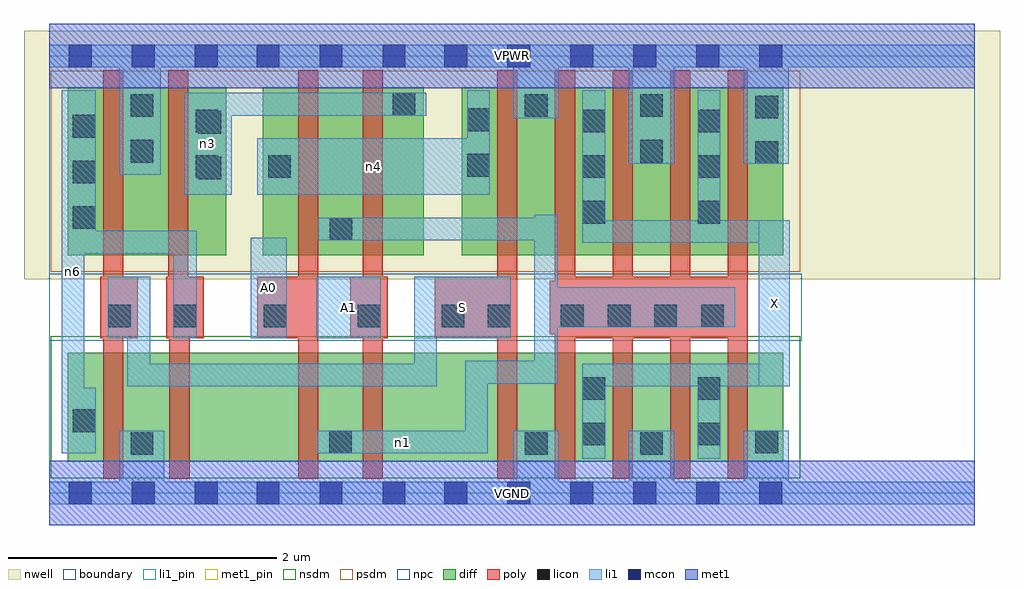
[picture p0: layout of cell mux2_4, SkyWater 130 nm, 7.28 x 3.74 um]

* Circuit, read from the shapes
.subckt mux2_4 A0 A1 S VGND VPWR X n1 n3 n4 n6
XM1 VGND S n6 VSUBS sky130_fd_pr__nfet_01v8 w=0.81 l=0.15
XM2 n2 n6 VGND VSUBS sky130_fd_pr__nfet_01v8 w=0.81 l=0.15
XM3 n1 A0 n2 VSUBS sky130_fd_pr__nfet_01v8 w=0.81 l=0.15
XM4 n5 A1 n1 VSUBS sky130_fd_pr__nfet_01v8 w=0.81 l=0.15
XM5 VGND S n5 VSUBS sky130_fd_pr__nfet_01v8 w=0.81 l=0.15
XM6 X n1 VGND VSUBS sky130_fd_pr__nfet_01v8 w=0.81 l=0.15 m=4
XM7 VPWR S n6 n7 sky130_fd_pr__pfet_01v8 w=1.25 l=0.15
XM8 n3 n6 VPWR n7 sky130_fd_pr__pfet_01v8 w=1.25 l=0.15
XM9 n1 A0 n4 n7 sky130_fd_pr__pfet_01v8 w=1.25 l=0.15
XM10 n3 A1 n1 n7 sky130_fd_pr__pfet_01v8 w=1.25 l=0.15
XM11 VPWR S n4 n7 sky130_fd_pr__pfet_01v8 w=1.25 l=0.15
XM12 X n1 VPWR n7 sky130_fd_pr__pfet_01v8 w=1.25 l=0.15 m=4
.ends

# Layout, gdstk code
import gdstk
lib = gdstk.Library(unit=1e-6, precision=1e-09)
def R(c, l, rs):  # rectangles x0, y0, x1, y1
    for r in rs: c.add(gdstk.rectangle(r[:2], r[2:], *l))
def A(c, l, x, y, w, h, nx, ny, dx, dy):  # array of equal rectangles
    R(c, l, [(x+i*dx, y+j*dy, x+i*dx+w, y+j*dy+h) for i in range(nx) for j in range(ny)])
nwell = (64, 20)
diff = (65, 20)
poly = (66, 20)
licon = (66, 44)
li1_pin = (67, 16)
li1 = (67, 20)
mcon = (67, 44)
met1_pin = (68, 16)
met1 = (68, 20)
nsdm = (93, 44)
psdm = (94, 20)
npc = (95, 20)
boundary = (235, 4)

mux2_4 = lib.new_cell('mux2_4')
R(mux2_4, nwell, [(-0.19,1.595,7.09,3.45), (0,1.595,6.9,3.45)])
R(mux2_4, diff, [(0.135,0.235,5.475,1.045), (0.135,1.775,1.32,3.025), (1.59,1.775,2.79,3.025), (3.075,1.775,5.475,3.025)])
A(mux2_4, poly, 3.34, 0.105, 0.15, 3.05, 5, 1, 0.43, 0)
R(mux2_4, poly, [(0.4,0.105,0.55,3.155), (0.895,0.105,1.045,1.615), (1.855,0.105,2.005,3.155), (2.335,0.105,2.485,3.155), (0.38,1.155,0.66,1.615), (0.87,1.155,1.15,1.615), (0.885,1.155,1.035,3.155), (1.55,1.155,2.005,1.615), (2.245,1.155,2.525,1.615), (2.875,1.155,3.49,1.615), (3.77,1.155,5.21,1.615), (3.73,1.185,5.21,1.585)])
A(mux2_4, licon, 0.175, 1.97, 0.17, 0.17, 1, 3, 0, 0.34)
A(mux2_4, licon, 3.975, 2.01, 0.17, 0.17, 1, 3, 0, 0.34)
A(mux2_4, licon, 4.835, 2.01, 0.17, 0.17, 1, 3, 0, 0.34)
R(mux2_4, licon, [(0.605,0.285,0.775,0.455), (3.545,0.285,3.715,0.455), (4.405,0.285,4.575,0.455), (2.085,0.295,2.255,0.465), (5.265,0.295,5.435,0.465), (3.975,0.355,4.145,0.525), (4.835,0.355,5.005,0.525), (0.175,0.455,0.345,0.625), (3.975,0.695,4.145,0.865), (4.835,0.695,5.005,0.865), (0.435,1.235,0.605,1.405), (0.925,1.235,1.095,1.405), (1.6,1.235,1.77,1.405), (2.3,1.235,2.47,1.405), (2.925,1.235,3.095,1.405), (3.27,1.235,3.44,1.405), (3.815,1.235,3.985,1.405), (4.165,1.235,4.335,1.405), (4.51,1.235,4.68,1.405), (4.86,1.235,5.03,1.405), (2.09,1.885,2.26,2.055), (1.11,2.34,1.28,2.51), (1.09,2.35,1.26,2.52), (1.63,2.35,1.8,2.52), (3.115,2.36,3.285,2.53), (5.265,2.455,5.435,2.625), (0.605,2.465,0.775,2.635), (4.405,2.465,4.575,2.635), (1.11,2.68,1.28,2.85), (1.09,2.69,1.26,2.86), (3.115,2.7,3.285,2.87), (5.265,2.795,5.435,2.965), (0.605,2.805,0.775,2.975), (3.545,2.805,3.715,2.975), (4.405,2.805,4.575,2.975), (2.56,2.815,2.73,2.985)])
R(mux2_4, li1_pin, [(5.29,0.795,5.52,2.035), (1.5,1.155,1.77,1.905), (1.99,1.155,2.47,1.615), (2.72,1.155,3.44,1.615)])
R(mux2_4, li1, [(0,-0.085,6.9,0.085), (0.52,-0.085,0.855,0.465), (3.46,-0.085,3.8,0.465), (4.32,-0.085,4.66,0.465), (5.18,-0.085,5.515,0.465), (3.975,0.255,4.145,0.965), (4.835,0.255,5.005,0.965), (0.09,0.295,0.26,3.005), (0.09,0.295,0.345,0.785), (2,0.295,3.27,0.465), (3.1,0.295,3.27,0.985), (0.58,0.795,2.89,0.965), (0.58,0.795,0.75,1.615), (2.72,0.795,2.89,1.615), (3.975,0.795,5.52,0.965), (5.29,0.795,5.52,2.035), (3.1,0.815,3.79,0.985), (3.615,0.815,3.79,2.075), (0.435,1.155,0.75,1.615), (0.925,1.155,1.1,1.955), (1.5,1.155,1.77,1.905), (1.99,1.155,2.47,1.615), (2.72,1.155,3.44,1.615), (3.615,1.235,5.115,1.535), (0.09,1.785,1.1,1.955), (0.09,1.785,0.345,3.005), (3.975,1.865,5.52,2.035), (3.975,1.865,4.145,3.005), (4.835,1.865,5.005,3.005), (2.005,1.885,3.79,2.055), (1.005,2.225,1.36,2.985), (1.55,2.225,3.285,2.645), (3.115,2.225,3.285,3.005), (0.52,2.375,0.83,3.345), (4.32,2.455,4.66,3.345), (5.18,2.455,5.515,3.345), (3.46,2.795,3.8,3.345), (1.005,2.815,2.81,2.985), (0,3.175,6.9,3.345)])
A(mux2_4, mcon, 0.145, -0.085, 0.17, 0.17, 3, 2, 0.47, 3.26)
A(mux2_4, mcon, 1.545, -0.085, 0.17, 0.17, 3, 2, 0.47, 3.26)
A(mux2_4, mcon, 2.945, -0.085, 0.17, 0.17, 6, 2, 0.47, 3.26)
R(mux2_4, met1_pin, [(0,-0.24,6.9,0.24), (0,3.02,6.9,3.5)])
R(mux2_4, met1, [(0,-0.24,6.9,0.24), (0,3.02,6.9,3.5)])
R(mux2_4, nsdm, [(0.01,0.11,5.6,1.17)])
R(mux2_4, psdm, [(0.01,1.65,5.6,3.15)])
R(mux2_4, npc, [(0,1.135,5.61,1.635)])
R(mux2_4, boundary, [(0,0,6.9,3.26)])
mux2_4.add(gdstk.Label('A0', (1.635,1.53), layer=67, texttype=5))
mux2_4.add(gdstk.Label('A1', (2.23,1.385), layer=67, texttype=5))
mux2_4.add(gdstk.Label('S', (3.08,1.385), layer=67, texttype=5))
mux2_4.add(gdstk.Label('X', (5.405,1.415), layer=67, texttype=5))
mux2_4.add(gdstk.Label('n1', (2.635,0.38), layer=67, texttype=5))
mux2_4.add(gdstk.Label('n3', (1.182,2.605), layer=67, texttype=5))
mux2_4.add(gdstk.Label('n6', (0.175,1.65), layer=67, texttype=5))
mux2_4.add(gdstk.Label('n4', (2.417,2.435), layer=67, texttype=5))
mux2_4.add(gdstk.Label('VPWR', (3.45,3.26), layer=68, texttype=5))
mux2_4.add(gdstk.Label('VGND', (3.45,0), layer=68, texttype=5))
mux2_4.add(gdstk.Label('A0', (1.635,1.53), layer=67, texttype=16))
mux2_4.add(gdstk.Label('A1', (2.23,1.385), layer=67, texttype=16))
mux2_4.add(gdstk.Label('S', (3.08,1.385), layer=67, texttype=16))
mux2_4.add(gdstk.Label('X', (5.405,1.415), layer=67, texttype=16))
mux2_4.add(gdstk.Label('VPWR', (3.45,3.26), layer=68, texttype=16))
mux2_4.add(gdstk.Label('VGND', (3.45,0), layer=68, texttype=16))

lib.write_gds('mux2_4.gds')
